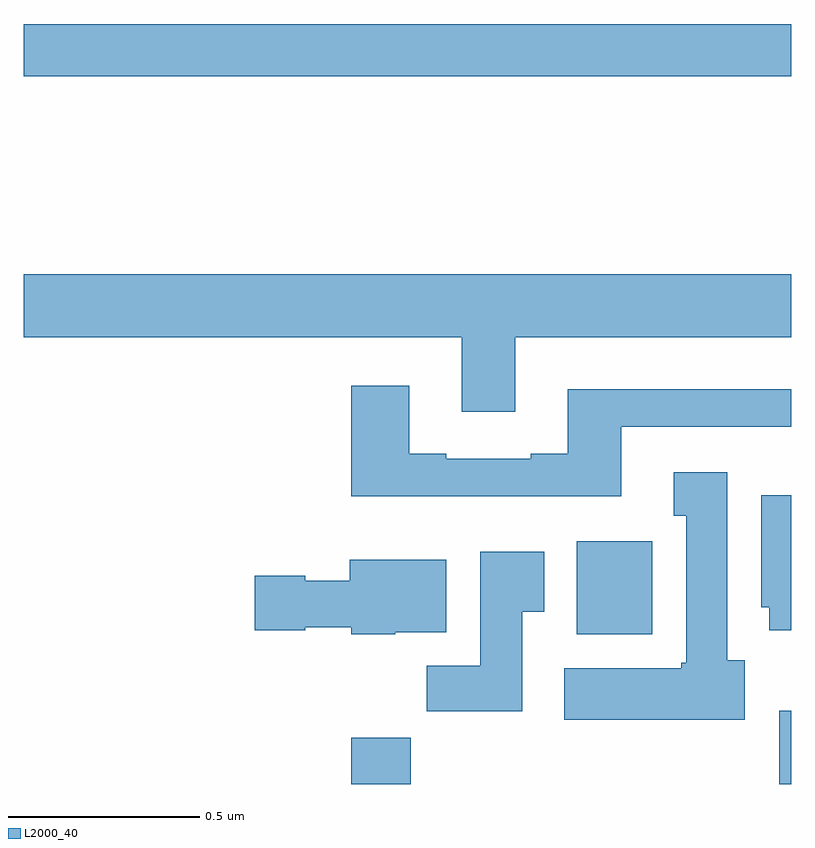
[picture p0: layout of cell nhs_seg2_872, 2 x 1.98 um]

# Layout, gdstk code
import gdstk
lib = gdstk.Library(unit=1e-6, precision=1e-09)
def R(c, l, rs):  # rectangles x0, y0, x1, y1
    for r in rs: c.add(gdstk.rectangle(r[:2], r[2:], *l))
def P(c, l, *ps):  # polygons
    for p in ps: c.add(gdstk.Polygon(p, *l))
L2000_40 = (2000, 40)

nhs_seg2_872 = lib.new_cell('nhs_seg2_872')
R(nhs_seg2_872, L2000_40, [(121.853,651.8,122.009,651.92), (122.969,651.8,123,651.991), (122.441,652.19,122.638,652.432), (121,653.644,123,653.78)])
P(nhs_seg2_872, L2000_40, [(122.281,652.964),(123,652.964),(123,653.128),(121,653.128),(121,652.964),(122.141,652.964),(122.141,652.77),(122.281,652.77)],
  [(122.557,652.731),(123,652.731),(123,652.828),(122.417,652.828),(122.417,652.66),(122.321,652.66),(122.321,652.647),(122.101,652.647),(122.101,652.66),(122.005,652.66),(122.005,652.837),(121.853,652.837),(121.853,652.55),(122.557,652.55)],
  [(122.878,652.122),(122.833,652.122),(122.833,652.612),(122.693,652.612),(122.693,652.499),(122.726,652.499),(122.726,652.116),(122.713,652.116),(122.713,652.102),(122.409,652.102),(122.409,651.968),(122.878,651.968)],
  [(123,652.552),(122.921,652.552),(122.921,652.26),(122.942,652.26),(122.942,652.2),(123,652.2)],
  [(122.299,652.249),(122.356,652.249),(122.356,652.405),(122.189,652.405),(122.189,652.108),(122.05,652.108),(122.05,651.99),(122.299,651.99)],
  [(121.968,652.196),(122.101,652.196),(122.101,652.384),(121.85,652.384),(121.85,652.33),(121.734,652.33),(121.734,652.343),(121.602,652.343),(121.602,652.201),(121.734,652.201),(121.734,652.208),(121.854,652.208),(121.854,652.19),(121.968,652.19)])

lib.write_gds('nhs_seg2_872.gds')
